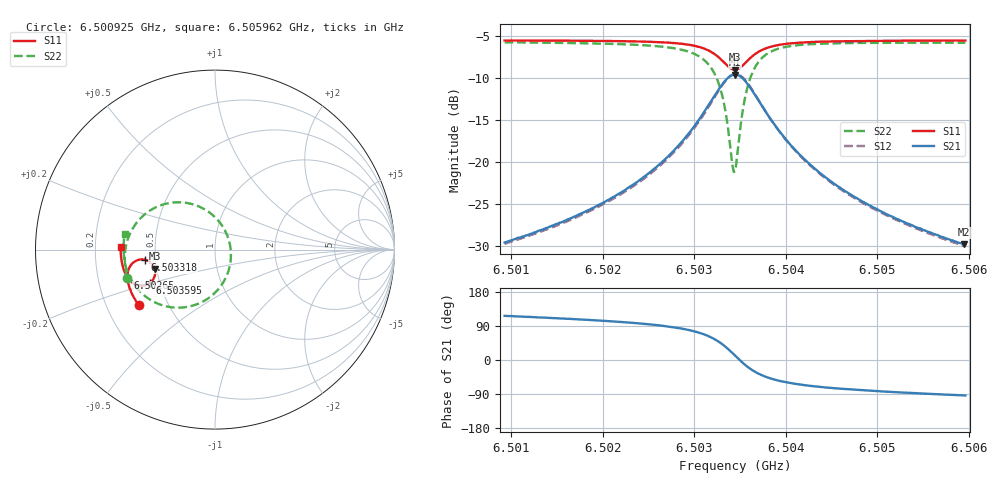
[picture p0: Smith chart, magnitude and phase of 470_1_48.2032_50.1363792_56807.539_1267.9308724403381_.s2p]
#  HZ  S  RI  R  50.00
! Rohde & Schwarz Vector Network Analyzer
! Rohde-Schwarz,ZNB20-2Port,1311601062101988,3.16
! Created: UTC 3/20/2024, 11:57:06 AM
! freq[Hz]  re:S11  im:S11  re:S21  im:S21  re:S12  im:S12  re:S22  im:S22
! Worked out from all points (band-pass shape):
!   401 points, 6.500925 GHz to 6.505962 GHz, reference 50 ohm
!   highest |S21| = -9.61 dB at 6.503443 GHz (marker M1); lowest = -29.8 dB at 6.505949 GHz (marker M2)
!   |S21| within 3 dB of the highest: 6.503192 GHz to 6.503696 GHz (503.3 kHz wide, 0.00774 % of centre)
!   lowest |S11| = -9.1 dB at 6.503443 GHz (marker M3), VSWR 2.09, Z = 24.4 - j5.88 ohm
!   |S11| at or under -10 dB: nowhere
!   |S22| runs from -21.2 to -5.8 dB; largest |S21 - S12| = 0.012
!   S11 on the Smith chart (normalised r, x): 6.500925 GHz: 0.34, -0.29; 6.50265 GHz: 0.33, -0.14; 6.503318 GHz: 0.44, -0.06; 6.503595 GHz: 0.44, -0.20; 6.505962 GHz: 0.31, +0.01
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6.5009249e9  -0.4257 -0.3099  -0.0149 0.0299  -0.0132 0.0299  -0.4887 -0.1575
6.5017686e9  -0.4619 -0.2478  -0.0143 0.0477  -0.0119 0.0473  -0.5025 -0.0682
6.502222e9  -0.4779 -0.2077  -0.0115 0.0664  -0.00846 0.0654  -0.4998 -0.00417
6.5026123e9  -0.4873 -0.1648  -0.00235 0.0964  0.00128 0.0942  -0.4803 0.0729
6.5026501e9  -0.4876 -0.16  -0.000741 0.1007  0.00321 0.0982  -0.4765 0.0823
6.5029272e9  -0.4838 -0.1171  0.0261 0.1432  0.0299 0.1386  -0.4211 0.1682
6.5031161e9  -0.4624 -0.079  0.0801 0.1852  0.0828 0.1789  -0.3179 0.2408
6.5032294e9  -0.4299 -0.0582  0.1492 0.203  0.1504 0.1966  -0.1934 0.2635
6.5033175e9  -0.3892 -0.0566  0.2289 0.1869  0.2295 0.1817  -0.0559 0.2233
6.5034183e9  -0.3429 -0.0911  0.3134 0.0998  0.3163 0.0946  0.0771 0.0531
6.5034435e9  -0.3365 -0.1057  0.3239 0.0673  0.3272 0.0612  0.0882 -0.00732
6.5034687e9  -0.3335 -0.1215  0.3275 0.0336  0.3311 0.0263  0.0863 -0.0691
6.5035316e9  -0.3407 -0.159  0.3093 -0.045  0.3116 -0.0553  0.0309 -0.2053
6.5035946e9  -0.362 -0.1852  0.2661 -0.0994  0.265 -0.111  -0.0663 -0.2889
6.5036953e9  -0.4018 -0.2007  0.1909 -0.1358  0.1857 -0.1457  -0.2174 -0.3235
6.503859e9  -0.4482 -0.1911  0.1089 -0.1327  0.1017 -0.1379  -0.3652 -0.2767
6.5040354e9  -0.4756 -0.1696  0.0642 -0.1123  0.0577 -0.1148  -0.4378 -0.2116
6.5042872e9  -0.4964 -0.1396  0.0341 -0.088  0.0292 -0.0886  -0.4813 -0.1391
6.504665e9  -0.5119 -0.1002  0.0149 -0.0646  0.0117 -0.0643  -0.5039 -0.0643
6.5051309e9  -0.5213 -0.0571  0.00505 -0.0481  0.00268 -0.0474  -0.51 0.0015
6.5059495e9  -0.5261 0.0123  -0.00198 -0.0324  -0.00341 -0.0317  -0.5025 0.0881
6.5059621e9  -0.5261 0.0133  -0.00213 -0.0324  -0.0034 -0.0316  -0.5024 0.0893
